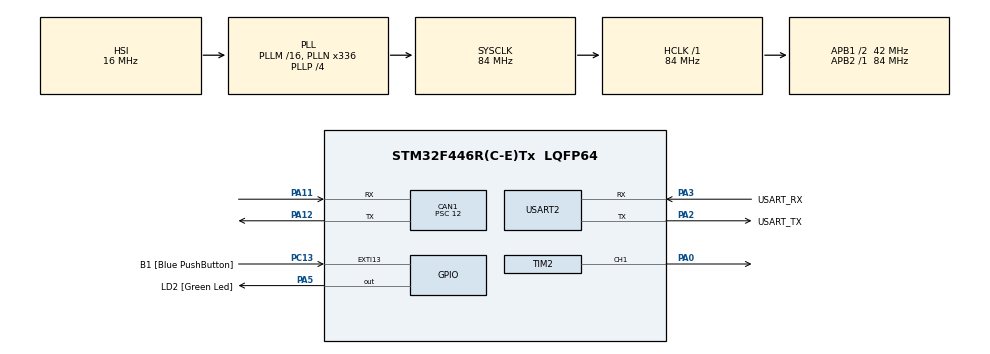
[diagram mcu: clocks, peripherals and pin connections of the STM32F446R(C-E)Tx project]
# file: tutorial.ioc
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CAN1.BS1=CAN_BS1_3TQ
CAN1.BS2=CAN_BS2_3TQ
CAN1.CalculateBaudRate=500000
CAN1.CalculateTimeBit=2000
CAN1.CalculateTimeQuantum=285.7142857142857
CAN1.Prescaler=12
Mcu.Family=STM32F4
Mcu.Name=STM32F446R(C-E)Tx
Mcu.Package=LQFP64
NVIC.CAN1_RX0_IRQn=true\:0\:0\:false\:false\:true\:true\:true\:true
NVIC.EXTI15_10_IRQn=true\:0\:0\:false\:false\:true\:true\:true\:true
NVIC.PriorityGroup=NVIC_PRIORITYGROUP_0
NVIC.TIM2_IRQn=true\:0\:0\:false\:false\:true\:true\:true\:true
PA0-WKUP.Signal=S_TIM2_CH1_ETR
PA11.GPIO_PuPd=GPIO_PULLUP
PA11.Mode=CAN_Activate
PA11.Signal=CAN1_RX
PA12.Mode=CAN_Activate
PA12.Signal=CAN1_TX
PA13.GPIO_Label=TMS
PA13.Mode=Serial_Wire
PA13.Signal=SYS_JTMS-SWDIO
PA14.GPIO_Label=TCK
PA14.Mode=Serial_Wire
PA14.Signal=SYS_JTCK-SWCLK
PA2.GPIO_Label=USART_TX
PA2.Mode=Asynchronous
PA2.Signal=USART2_TX
PA3.GPIO_Label=USART_RX
PA3.Mode=Asynchronous
PA3.Signal=USART2_RX
PA5.GPIO_Label=LD2 [Green Led]
PA5.Signal=GPIO_Output
PB3.GPIO_Label=SWO
PB3.Signal=SYS_JTDO-SWO
PC13.GPIO_Label=B1 [Blue PushButton]
PC13.GPIO_ModeDefaultEXTI=GPIO_MODE_IT_FALLING
PC13.Signal=GPXTI13
PC14-OSC32_IN.Mode=LSE-External-Oscillator
PC14-OSC32_IN.Signal=RCC_OSC32_IN
PC15-OSC32_OUT.Mode=LSE-External-Oscillator
PC15-OSC32_OUT.Signal=RCC_OSC32_OUT
PH0-OSC_IN.Mode=HSE-External-Oscillator
PH0-OSC_IN.Signal=RCC_OSC_IN
PH1-OSC_OUT.Mode=HSE-External-Oscillator
PH1-OSC_OUT.Signal=RCC_OSC_OUT
ProjectManager.HeapSize=0x200
ProjectManager.StackSize=0x400
ProjectManager.TargetToolchain=STM32CubeIDE
RCC.48MHZClocksFreq_Value=84000000
RCC.AHBFreq_Value=84000000
RCC.APB1CLKDivider=RCC_HCLK_DIV2
RCC.APB1Freq_Value=42000000
RCC.APB1TimFreq_Value=84000000
RCC.APB2Freq_Value=84000000
RCC.APB2TimCLKDivider=1
RCC.APB2TimFreq_Value=84000000
RCC.CortexFreq_Value=84000000
RCC.FLatency-AdvancedSettings=FLASH_LATENCY_2
RCC.HCLKFreq_Value=84000000
RCC.HSE_VALUE=8000000
RCC.HSI_VALUE=16000000
RCC.PLLN=336
RCC.PLLP=RCC_PLLP_DIV4
RCC.SYSCLKFreq_VALUE=84000000
RCC.SYSCLKSource=RCC_SYSCLKSOURCE_PLLCLK
RCC.USBFreq_Value=168000000
RCC.VCOOutputFreq_Value=336000000
SH.S_TIM2_CH1_ETR.0=TIM2_CH1,PWM Generation1 CH1
TIM2.Channel-PWM\ Generation1\ CH1=TIM_CHANNEL_1
TIM2.Period=1000-1
TIM2.Prescaler=1680-1
USART2.VirtualMode=VM_ASYNC
VP_TIM2_VS_ClockSourceINT.Mode=Internal
board=NUCLEO-F446RE

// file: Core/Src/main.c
/* USER CODE BEGIN Header */
/**
  ******************************************************************************
  * @file           : main.c
  * @brief          : Main program body
  ******************************************************************************
  * @attention
  *
  * Copyright (c) 2023 STMicroelectronics.
  * All rights reserved.
  *
  * This software is licensed under terms that can be found in the LICENSE file
  * in the root directory of this software component.
  * If no LICENSE file comes with this software, it is provided AS-IS.
  *
  ******************************************************************************
  */
/* USER CODE END Header */
#include "main.h"

CAN_HandleTypeDef hcan1;

TIM_HandleTypeDef htim2;

UART_HandleTypeDef huart2;

void SystemClock_Config(void);
static void MX_GPIO_Init(void);
static void MX_USART2_UART_Init(void);
static void MX_CAN1_Init(void);
static void MX_TIM2_Init(void);

/* USER CODE BEGIN 0 */

CAN_TxHeaderTypeDef TxHeader;
CAN_RxHeaderTypeDef RxHeader;

uint8_t TxData[8];
uint8_t RxData[8];

uint32_t TxMailbox;

int datacheck = 0;

void HAL_GPIO_EXT1_Callback(uint16_t GPIO_Pin)
{
	if (GPIO_Pin == GPIO_PIN_13)
	{
		TxData[0] = 100;
		TxData[1] = 10;

		HAL_CAN_AddTxMessage(&hcan1, &TxHeader, TxData, &TxMailbox);
	}
}

void HAL_CAN_RxFifo0MsgPendingCallback(CAN_HandleTypeDef *hcan)
{
	HAL_CAN_GetRxMessage(hcan, CAN_RX_FIFO0, &RxHeader, RxData);
	if (RxHeader.DLC == 2)
	{
		datacheck = 1;
	}
}

void WriteServo(uint32_t value)
{
	htim2.Instance->CCR1 = value;
}
/* USER CODE END 0 */

int main(void)
{

  /* MCU Configuration--------------------------------------------------------*/

  /* Reset of all peripherals, Initializes the Flash interface and the Systick. */
  HAL_Init();

  /* Configure the system clock */
  SystemClock_Config();

  /* Initialize all configured peripherals */
  MX_GPIO_Init();
  MX_USART2_UART_Init();
  MX_CAN1_Init();
  MX_TIM2_Init();
  /* USER CODE BEGIN 2 */

  HAL_CAN_Start(&hcan1);

  HAL_CAN_ActivateNotification(&hcan1, CAN_IT_RX_FIFO0_MSG_PENDING);

  TxHeader.DLC = 2;
  TxHeader.IDE = CAN_ID_STD;
  TxHeader.RTR = CAN_RTR_DATA;
  TxHeader.StdId = 0x446;

  HAL_TIM_PWM_Start(&htim2, TIM_CHANNEL_1);

  /* USER CODE END 2 */

  /* Infinite loop */
  while (1)
  {
	  if (datacheck)
	  {
		  WriteServo(RxData[0]);
		  datacheck = 0;
	  }
  }
}

void SystemClock_Config(void)
{
  RCC_OscInitTypeDef RCC_OscInitStruct = {0};
  RCC_ClkInitTypeDef RCC_ClkInitStruct = {0};

  /** Configure the main internal regulator output voltage
  */
  __HAL_RCC_PWR_CLK_ENABLE();
  __HAL_PWR_VOLTAGESCALING_CONFIG(PWR_REGULATOR_VOLTAGE_SCALE3);

  /** Initializes the RCC Oscillators according to the specified parameters
  * in the RCC_OscInitTypeDef structure.
  */
  RCC_OscInitStruct.OscillatorType = RCC_OSCILLATORTYPE_HSI;
  RCC_OscInitStruct.HSIState = RCC_HSI_ON;
  RCC_OscInitStruct.HSICalibrationValue = RCC_HSICALIBRATION_DEFAULT;
  RCC_OscInitStruct.PLL.PLLState = RCC_PLL_ON;
  RCC_OscInitStruct.PLL.PLLSource = RCC_PLLSOURCE_HSI;
  RCC_OscInitStruct.PLL.PLLM = 16;
  RCC_OscInitStruct.PLL.PLLN = 336;
  RCC_OscInitStruct.PLL.PLLP = RCC_PLLP_DIV4;
  RCC_OscInitStruct.PLL.PLLQ = 2;
  RCC_OscInitStruct.PLL.PLLR = 2;
  if (HAL_RCC_OscConfig(&RCC_OscInitStruct) != HAL_OK)
  {
    Error_Handler();
  }

  /** Initializes the CPU, AHB and APB buses clocks
  */
  RCC_ClkInitStruct.ClockType = RCC_CLOCKTYPE_HCLK|RCC_CLOCKTYPE_SYSCLK
                              |RCC_CLOCKTYPE_PCLK1|RCC_CLOCKTYPE_PCLK2;
  RCC_ClkInitStruct.SYSCLKSource = RCC_SYSCLKSOURCE_PLLCLK;
  RCC_ClkInitStruct.AHBCLKDivider = RCC_SYSCLK_DIV1;
  RCC_ClkInitStruct.APB1CLKDivider = RCC_HCLK_DIV2;
  RCC_ClkInitStruct.APB2CLKDivider = RCC_HCLK_DIV1;

  if (HAL_RCC_ClockConfig(&RCC_ClkInitStruct, FLASH_LATENCY_2) != HAL_OK)
  {
    Error_Handler();
  }
}

static void MX_CAN1_Init(void)
{

  hcan1.Instance = CAN1;
  hcan1.Init.Prescaler = 12;
  hcan1.Init.Mode = CAN_MODE_NORMAL;
  hcan1.Init.SyncJumpWidth = CAN_SJW_1TQ;
  hcan1.Init.TimeSeg1 = CAN_BS1_3TQ;
  hcan1.Init.TimeSeg2 = CAN_BS2_3TQ;
  hcan1.Init.TimeTriggeredMode = DISABLE;
  hcan1.Init.AutoBusOff = DISABLE;
  hcan1.Init.AutoWakeUp = DISABLE;
  hcan1.Init.AutoRetransmission = DISABLE;
  hcan1.Init.ReceiveFifoLocked = DISABLE;
  hcan1.Init.TransmitFifoPriority = DISABLE;
  if (HAL_CAN_Init(&hcan1) != HAL_OK)
  {
    Error_Handler();
  }
  /* USER CODE BEGIN CAN1_Init 2 */

  CAN_FilterTypeDef canfilterconfig;

  canfilterconfig.FilterActivation = CAN_FILTER_ENABLE;
  canfilterconfig.FilterBank = 18;  // which filter bank to use from the assigned ones
  canfilterconfig.FilterFIFOAssignment = CAN_FILTER_FIFO0;
  canfilterconfig.FilterIdHigh = 0x446<<5;
  canfilterconfig.FilterIdLow = 0;
  canfilterconfig.FilterMaskIdHigh = 0x446<<5;
  canfilterconfig.FilterMaskIdLow = 0x0000;
  canfilterconfig.FilterMode = CAN_FILTERMODE_IDMASK;
  canfilterconfig.FilterScale = CAN_FILTERSCALE_32BIT;
  canfilterconfig.SlaveStartFilterBank = 20;  // how many filters to assign to the CAN1 (master can)

  HAL_CAN_ConfigFilter(&hcan1, &canfilterconfig);
  /* USER CODE END CAN1_Init 2 */

}

static void MX_TIM2_Init(void)
{

  TIM_ClockConfigTypeDef sClockSourceConfig = {0};
  TIM_MasterConfigTypeDef sMasterConfig = {0};
  TIM_OC_InitTypeDef sConfigOC = {0};

  htim2.Instance = TIM2;
  htim2.Init.Prescaler = 1680-1;
  htim2.Init.CounterMode = TIM_COUNTERMODE_UP;
  htim2.Init.Period = 1000-1;
  htim2.Init.ClockDivision = TIM_CLOCKDIVISION_DIV1;
  htim2.Init.AutoReloadPreload = TIM_AUTORELOAD_PRELOAD_DISABLE;
  if (HAL_TIM_Base_Init(&htim2) != HAL_OK)
  {
    Error_Handler();
  }
  sClockSourceConfig.ClockSource = TIM_CLOCKSOURCE_INTERNAL;
  if (HAL_TIM_ConfigClockSource(&htim2, &sClockSourceConfig) != HAL_OK)
  {
    Error_Handler();
  }
  if (HAL_TIM_PWM_Init(&htim2) != HAL_OK)
  {
    Error_Handler();
  }
  sMasterConfig.MasterOutputTrigger = TIM_TRGO_RESET;
  sMasterConfig.MasterSlaveMode = TIM_MASTERSLAVEMODE_DISABLE;
  if (HAL_TIMEx_MasterConfigSynchronization(&htim2, &sMasterConfig) != HAL_OK)
  {
    Error_Handler();
  }
  sConfigOC.OCMode = TIM_OCMODE_PWM1;
  sConfigOC.Pulse = 0;
  sConfigOC.OCPolarity = TIM_OCPOLARITY_HIGH;
  sConfigOC.OCFastMode = TIM_OCFAST_DISABLE;
  if (HAL_TIM_PWM_ConfigChannel(&htim2, &sConfigOC, TIM_CHANNEL_1) != HAL_OK)
  {
    Error_Handler();
  }
  HAL_TIM_MspPostInit(&htim2);

}

static void MX_USART2_UART_Init(void)
{

  huart2.Instance = USART2;
  huart2.Init.BaudRate = 115200;
  huart2.Init.WordLength = UART_WORDLENGTH_8B;
  huart2.Init.StopBits = UART_STOPBITS_1;
  huart2.Init.Parity = UART_PARITY_NONE;
  huart2.Init.Mode = UART_MODE_TX_RX;
  huart2.Init.HwFlowCtl = UART_HWCONTROL_NONE;
  huart2.Init.OverSampling = UART_OVERSAMPLING_16;
  if (HAL_UART_Init(&huart2) != HAL_OK)
  {
    Error_Handler();
  }

}

static void MX_GPIO_Init(void)
{
  GPIO_InitTypeDef GPIO_InitStruct = {0};

  /* GPIO Ports Clock Enable */
  __HAL_RCC_GPIOC_CLK_ENABLE();
  __HAL_RCC_GPIOH_CLK_ENABLE();
  __HAL_RCC_GPIOA_CLK_ENABLE();
  __HAL_RCC_GPIOB_CLK_ENABLE();

  /*Configure GPIO pin Output Level */
  HAL_GPIO_WritePin(LD2_GPIO_Port, LD2_Pin, GPIO_PIN_RESET);

  /*Configure GPIO pin : B1_Pin */
  GPIO_InitStruct.Pin = B1_Pin;
  GPIO_InitStruct.Mode = GPIO_MODE_IT_FALLING;
  GPIO_InitStruct.Pull = GPIO_NOPULL;
  HAL_GPIO_Init(B1_GPIO_Port, &GPIO_InitStruct);

  /*Configure GPIO pin : LD2_Pin */
  GPIO_InitStruct.Pin = LD2_Pin;
  GPIO_InitStruct.Mode = GPIO_MODE_OUTPUT_PP;
  GPIO_InitStruct.Pull = GPIO_NOPULL;
  GPIO_InitStruct.Speed = GPIO_SPEED_FREQ_LOW;
  HAL_GPIO_Init(LD2_GPIO_Port, &GPIO_InitStruct);

  /* EXTI interrupt init*/
  HAL_NVIC_SetPriority(EXTI15_10_IRQn, 0, 0);
  HAL_NVIC_EnableIRQ(EXTI15_10_IRQn);

}

void Error_Handler(void)
{
  __disable_irq();
  while (1)
  {
  }
}
